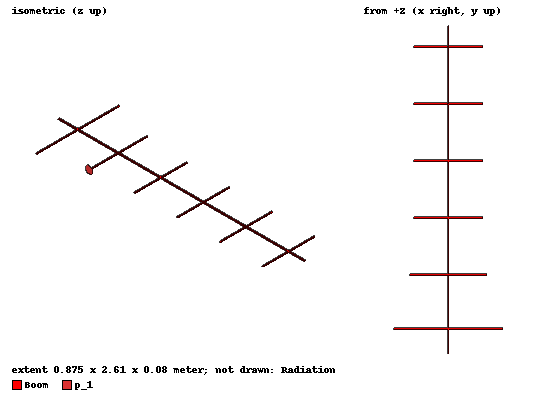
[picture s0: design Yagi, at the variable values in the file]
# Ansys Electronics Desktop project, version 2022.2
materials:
  vacuum: permittivity=1
  aluminum: permeability=1.000021 conductivity=38000000

design Yagi (HFSS, DrivenModal, model units meter)
options: Calculate_Lossy_Dielectrics Save_Adaptive_support_files
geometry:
  Boom [aluminum] = cylinder(axis=Y, base_centre=(0meter, 0meter, 0meter), radius=0.0076meter, height=2.61meter)
  Reflector = cylinder(axis=X, base_centre=(-0.4375meter, 0.2meter, 0meter), radius=0.0076meter, height=0.875meter)
  Dipole = cylinder(axis=X, base_centre=(-0.308meter, 0.63meter, 0meter), radius=0.0076meter, height=0.6163meter)
  Dr_1 = cylinder(axis=X, base_centre=(-0.275meter, 1.0825meter, 0meter), radius=0.0076meter, height=0.55meter)
  Dr_2 = cylinder(axis=X, base_centre=(-0.275meter, 1.535meter, 0meter), radius=0.0076meter, height=0.55meter)
  Dr_3 = cylinder(axis=X, base_centre=(-0.275meter, 1.9875meter, 0meter), radius=0.0076meter, height=0.55meter)
  Dr_4 = cylinder(axis=X, base_centre=(-0.275meter, 2.4401meter, 0meter), radius=0.0076meter, height=0.55meter)
  Boom.unite(Reflector, Dipole, Dr_1..Dr_4)
  p_1 = circle(normal=X, centre=(0.3083meter, 0.63meter, 0meter), radius=0.04meter)
  Radiation [vacuum] = cone(axis=Y, base_centre=(0meter, -0.1525meter, 0meter), bottom_radius=1meter, top_radius=1meter, height=3meter)
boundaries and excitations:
  Rad1: Radiation Objects=Radiation
  1: Lumped Port Objects=p_1 Modes{Mode1{IntLine{(0.3083, 0.63, -0.035777088) -> (0.3083, 0.63, 0.04)} CharImp=Zpi RenormImp=50ohm}} Impedance=50ohm
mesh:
  initial mesh: GlobalSurfApproximation{CurvedSurfaceApproxChoice=UseSlider SliderMeshSettings=1}
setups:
  Setup1: HfssDriven Frequency=165MHz MaxDeltaS=0.02 MaximumPasses=15 MinimumPasses=1 MinimumConvergedPasses=1 PercentRefinement=30 BasisOrder=1 PortAccuracy=2 DrivenSolverType="Direct Solver"
    sweep Sweep: 100MHz to 200MHz step 0.1MHz; Type=Fast SaveFields
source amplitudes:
  1:1: 1W 0deg
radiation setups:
  Infinite Sphere1: Infinite Sphere Theta=0deg..180deg step 10deg Phi=0deg..360deg step 10deg
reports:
  3D Polar Plot 1: dB(GainTotal) vs Phi, Theta on Setup1 : LastAdaptive, Infinite Sphere1 [Freq=0.165GHz]
  XY Plot 1: dB(S(1,1)) vs Freq on Setup1 : Sweep; markers m1 at 162.7MHz, m2 at 102.7MHz
  S Parameter Plot 1: dB(S(1,1)) vs Freq on Setup1 : Sweep
  S Parameter Plot 2: dB(S(1,1)) vs Freq on Setup1 : Sweep
  S Parameter Plot 3: dB(S(1,1)) vs Freq on Setup1 : Sweep
